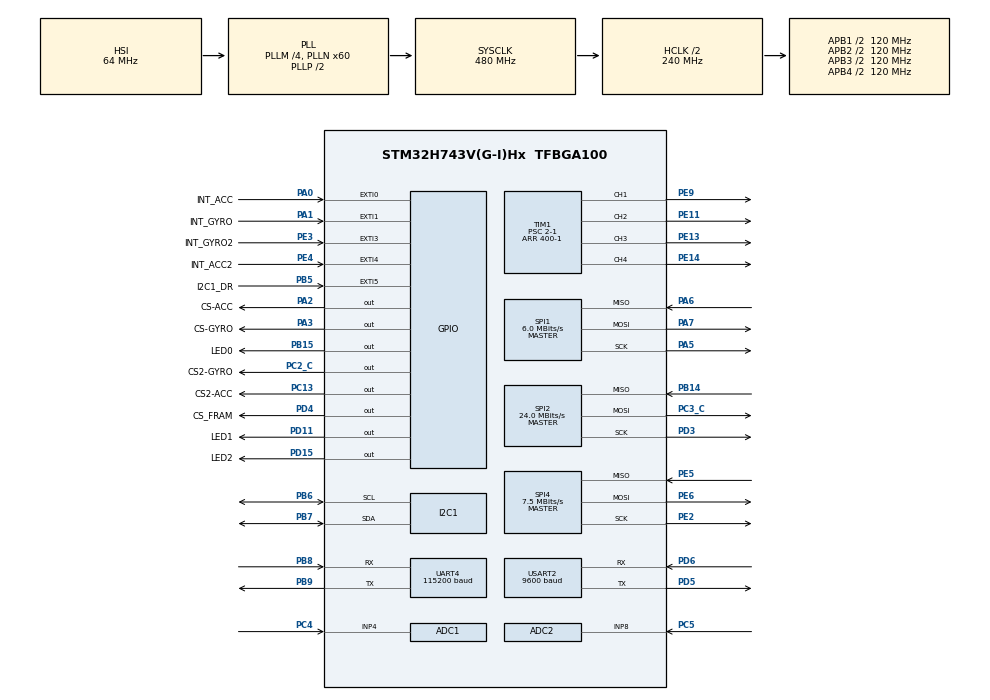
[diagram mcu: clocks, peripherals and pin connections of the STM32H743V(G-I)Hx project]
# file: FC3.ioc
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ADC1.Channel-0\#ChannelRegularConversion=ADC_CHANNEL_4
ADC1.ContinuousConvMode=ENABLE
ADC1.EOCSelection=ADC_EOC_SINGLE_CONV
ADC1.NbrOfConversionFlag=1
ADC1.OffsetNumber-0\#ChannelRegularConversion=ADC_OFFSET_NONE
ADC1.OffsetSignedSaturation-0\#ChannelRegularConversion=DISABLE
ADC1.Rank-0\#ChannelRegularConversion=1
ADC1.Resolution=ADC_RESOLUTION_16B
ADC1.SamplingTime-0\#ChannelRegularConversion=ADC_SAMPLETIME_810CYCLES_5
ADC1.master=1
ADC2.Channel-2\#ChannelRegularConversion=ADC_CHANNEL_8
ADC2.ContinuousConvMode=ENABLE
ADC2.EOCSelection=ADC_EOC_SINGLE_CONV
ADC2.NbrOfConversionFlag=1
ADC2.OffsetNumber-2\#ChannelRegularConversion=ADC_OFFSET_NONE
ADC2.OffsetSignedSaturation-2\#ChannelRegularConversion=DISABLE
ADC2.Rank-2\#ChannelRegularConversion=1
ADC2.Resolution=ADC_RESOLUTION_16B
ADC2.SamplingTime-2\#ChannelRegularConversion=ADC_SAMPLETIME_810CYCLES_5
CORTEX_M7.default_mode_Activation=1
Dma.Request0=TIM1_CH1
Dma.Request1=TIM1_CH2
Dma.Request2=TIM1_CH3
Dma.Request3=TIM1_CH4
Dma.Request4=USART2_RX
Dma.TIM1_CH1.0.Direction=DMA_MEMORY_TO_PERIPH
Dma.TIM1_CH1.0.EventEnable=DISABLE
Dma.TIM1_CH1.0.FIFOMode=DMA_FIFOMODE_DISABLE
Dma.TIM1_CH1.0.Instance=DMA1_Stream0
Dma.TIM1_CH1.0.MemDataAlignment=DMA_MDATAALIGN_HALFWORD
Dma.TIM1_CH1.0.MemInc=DMA_MINC_ENABLE
Dma.TIM1_CH1.0.Mode=DMA_CIRCULAR
Dma.TIM1_CH1.0.PeriphDataAlignment=DMA_PDATAALIGN_HALFWORD
Dma.TIM1_CH1.0.PeriphInc=DMA_PINC_DISABLE
Dma.TIM1_CH1.0.Polarity=HAL_DMAMUX_REQ_GEN_RISING
Dma.TIM1_CH1.0.Priority=DMA_PRIORITY_LOW
Dma.TIM1_CH1.0.RequestNumber=1
Dma.TIM1_CH1.0.SignalID=NONE
Dma.TIM1_CH1.0.SyncEnable=DISABLE
Dma.TIM1_CH1.0.SyncPolarity=HAL_DMAMUX_SYNC_NO_EVENT
Dma.TIM1_CH1.0.SyncRequestNumber=1
Dma.TIM1_CH1.0.SyncSignalID=NONE
Dma.TIM1_CH2.1.Direction=DMA_MEMORY_TO_PERIPH
Dma.TIM1_CH2.1.EventEnable=DISABLE
Dma.TIM1_CH2.1.FIFOMode=DMA_FIFOMODE_DISABLE
Dma.TIM1_CH2.1.Instance=DMA1_Stream1
Dma.TIM1_CH2.1.MemDataAlignment=DMA_MDATAALIGN_HALFWORD
Dma.TIM1_CH2.1.MemInc=DMA_MINC_ENABLE
Dma.TIM1_CH2.1.Mode=DMA_CIRCULAR
Dma.TIM1_CH2.1.PeriphDataAlignment=DMA_PDATAALIGN_HALFWORD
Dma.TIM1_CH2.1.PeriphInc=DMA_PINC_DISABLE
Dma.TIM1_CH2.1.Polarity=HAL_DMAMUX_REQ_GEN_RISING
Dma.TIM1_CH2.1.Priority=DMA_PRIORITY_LOW
Dma.TIM1_CH2.1.RequestNumber=1
Dma.TIM1_CH2.1.SignalID=NONE
Dma.TIM1_CH2.1.SyncEnable=DISABLE
Dma.TIM1_CH2.1.SyncPolarity=HAL_DMAMUX_SYNC_NO_EVENT
Dma.TIM1_CH2.1.SyncRequestNumber=1
Dma.TIM1_CH2.1.SyncSignalID=NONE
Dma.TIM1_CH3.2.Direction=DMA_MEMORY_TO_PERIPH
Dma.TIM1_CH3.2.EventEnable=DISABLE
Dma.TIM1_CH3.2.FIFOMode=DMA_FIFOMODE_DISABLE
Dma.TIM1_CH3.2.Instance=DMA1_Stream2
Dma.TIM1_CH3.2.MemDataAlignment=DMA_MDATAALIGN_HALFWORD
Dma.TIM1_CH3.2.MemInc=DMA_MINC_ENABLE
Dma.TIM1_CH3.2.Mode=DMA_CIRCULAR
Dma.TIM1_CH3.2.PeriphDataAlignment=DMA_PDATAALIGN_HALFWORD
Dma.TIM1_CH3.2.PeriphInc=DMA_PINC_DISABLE
Dma.TIM1_CH3.2.Polarity=HAL_DMAMUX_REQ_GEN_RISING
Dma.TIM1_CH3.2.Priority=DMA_PRIORITY_LOW
Dma.TIM1_CH3.2.RequestNumber=1
Dma.TIM1_CH3.2.SignalID=NONE
Dma.TIM1_CH3.2.SyncEnable=DISABLE
Dma.TIM1_CH3.2.SyncPolarity=HAL_DMAMUX_SYNC_NO_EVENT
Dma.TIM1_CH3.2.SyncRequestNumber=1
Dma.TIM1_CH3.2.SyncSignalID=NONE
Dma.TIM1_CH4.3.Direction=DMA_MEMORY_TO_PERIPH
Dma.TIM1_CH4.3.EventEnable=DISABLE
Dma.TIM1_CH4.3.FIFOMode=DMA_FIFOMODE_DISABLE
Dma.TIM1_CH4.3.Instance=DMA1_Stream3
Dma.TIM1_CH4.3.MemDataAlignment=DMA_MDATAALIGN_HALFWORD
Dma.TIM1_CH4.3.MemInc=DMA_MINC_ENABLE
Dma.TIM1_CH4.3.Mode=DMA_CIRCULAR
Dma.TIM1_CH4.3.PeriphDataAlignment=DMA_PDATAALIGN_HALFWORD
Dma.TIM1_CH4.3.PeriphInc=DMA_PINC_DISABLE
Dma.TIM1_CH4.3.Polarity=HAL_DMAMUX_REQ_GEN_RISING
Dma.TIM1_CH4.3.Priority=DMA_PRIORITY_LOW
Dma.TIM1_CH4.3.RequestNumber=1
Dma.TIM1_CH4.3.SignalID=NONE
Dma.TIM1_CH4.3.SyncEnable=DISABLE
Dma.TIM1_CH4.3.SyncPolarity=HAL_DMAMUX_SYNC_NO_EVENT
Dma.TIM1_CH4.3.SyncRequestNumber=1
Dma.TIM1_CH4.3.SyncSignalID=NONE
Dma.USART2_RX.4.Direction=DMA_PERIPH_TO_MEMORY
Dma.USART2_RX.4.EventEnable=DISABLE
Dma.USART2_RX.4.FIFOMode=DMA_FIFOMODE_DISABLE
Dma.USART2_RX.4.Instance=DMA1_Stream4
Dma.USART2_RX.4.MemDataAlignment=DMA_MDATAALIGN_BYTE
Dma.USART2_RX.4.MemInc=DMA_MINC_ENABLE
Dma.USART2_RX.4.Mode=DMA_CIRCULAR
Dma.USART2_RX.4.PeriphDataAlignment=DMA_PDATAALIGN_BYTE
Dma.USART2_RX.4.PeriphInc=DMA_PINC_DISABLE
Dma.USART2_RX.4.Polarity=HAL_DMAMUX_REQ_GEN_RISING
Dma.USART2_RX.4.Priority=DMA_PRIORITY_LOW
Dma.USART2_RX.4.RequestNumber=1
Dma.USART2_RX.4.SignalID=NONE
Dma.USART2_RX.4.SyncEnable=DISABLE
Dma.USART2_RX.4.SyncPolarity=HAL_DMAMUX_SYNC_NO_EVENT
Dma.USART2_RX.4.SyncRequestNumber=1
Dma.USART2_RX.4.SyncSignalID=NONE
I2C1.OwnAddress=0x76
I2C1.Timing=0x307075B1
Mcu.Family=STM32H7
Mcu.Name=STM32H743V(G-I)Hx
Mcu.Package=TFBGA100
NVIC.ADC_IRQn=true\:0\:0\:false\:false\:true\:true\:true\:true
NVIC.DMA1_Stream0_IRQn=true\:0\:0\:false\:false\:true\:false\:true\:true
NVIC.DMA1_Stream1_IRQn=true\:0\:0\:false\:false\:true\:false\:true\:true
NVIC.DMA1_Stream2_IRQn=true\:0\:0\:false\:false\:true\:false\:true\:true
NVIC.DMA1_Stream3_IRQn=true\:0\:0\:false\:false\:true\:false\:true\:true
NVIC.DMA1_Stream4_IRQn=true\:0\:0\:false\:false\:true\:false\:true\:true
NVIC.EXTI0_IRQn=true\:0\:0\:true\:false\:true\:true\:true\:true
NVIC.EXTI1_IRQn=true\:0\:0\:true\:false\:true\:true\:true\:true
NVIC.EXTI3_IRQn=true\:0\:0\:true\:false\:true\:true\:true\:true
NVIC.EXTI4_IRQn=true\:0\:0\:true\:false\:true\:true\:true\:true
NVIC.EXTI9_5_IRQn=true\:0\:0\:false\:false\:true\:true\:true\:true
NVIC.PriorityGroup=NVIC_PRIORITYGROUP_4
NVIC.TIM4_IRQn=true\:15\:0\:false\:false\:true\:false\:true\:true
NVIC.TIM6_DAC_IRQn=true\:5\:0\:true\:false\:true\:true\:true\:true
NVIC.TimeBase=TIM4_IRQn
NVIC.TimeBaseIP=TIM4
NVIC.UART4_IRQn=true\:0\:0\:true\:false\:true\:true\:true\:true
PA0.GPIO_Label=INT_ACC
PA0.GPIO_ModeDefaultEXTI=GPIO_MODE_IT_FALLING
PA0.Signal=GPXTI0
PA1.GPIO_Label=INT_GYRO
PA1.GPIO_ModeDefaultEXTI=GPIO_MODE_IT_FALLING
PA1.Signal=GPXTI1
PA13\ (JTMS/SWDIO).Mode=Serial_Wire
PA13\ (JTMS/SWDIO).Signal=DEBUG_JTMS-SWDIO
PA14\ (JTCK/SWCLK).Mode=Serial_Wire
PA14\ (JTCK/SWCLK).Signal=DEBUG_JTCK-SWCLK
PA2.GPIO_Label=CS-ACC
PA2.GPIO_PuPd=GPIO_PULLUP
PA2.PinState=GPIO_PIN_SET
PA2.Signal=GPIO_Output
PA3.GPIO_Label=CS-GYRO
PA3.GPIO_PuPd=GPIO_PULLUP
PA3.PinState=GPIO_PIN_SET
PA3.Signal=GPIO_Output
PA5.Mode=Full_Duplex_Master
PA5.Signal=SPI1_SCK
PA6.Mode=Full_Duplex_Master
PA6.Signal=SPI1_MISO
PA7.Mode=Full_Duplex_Master
PA7.Signal=SPI1_MOSI
PB14.Mode=Full_Duplex_Master
PB14.Signal=SPI2_MISO
PB15.GPIO_Label=LED0
PB15.GPIO_PuPd=GPIO_PULLDOWN
PB15.Signal=GPIO_Output
PB5.GPIO_Label=I2C1_DR
PB5.GPIO_ModeDefaultEXTI=GPIO_MODE_IT_RISING
PB5.GPIO_PuPd=GPIO_PULLDOWN
PB5.Signal=GPXTI5
PB6.Mode=I2C
PB6.Signal=I2C1_SCL
PB7.Mode=I2C
PB7.Signal=I2C1_SDA
PB8.Mode=Asynchronous
PB8.Signal=UART4_RX
PB9.Mode=Asynchronous
PB9.Signal=UART4_TX
PC13.GPIO_Label=CS2-ACC
PC13.GPIO_PuPd=GPIO_PULLUP
PC13.PinState=GPIO_PIN_SET
PC13.Signal=GPIO_Output
PC14-OSC32_IN\ (OSC32_IN).Mode=LSE-External-Oscillator
PC14-OSC32_IN\ (OSC32_IN).Signal=RCC_OSC32_IN
PC15-OSC32_OUT\ (OSC32_OUT).Mode=LSE-External-Oscillator
PC15-OSC32_OUT\ (OSC32_OUT).Signal=RCC_OSC32_OUT
PC2_C.GPIO_Label=CS2-GYRO
PC2_C.GPIO_PuPd=GPIO_PULLUP
PC2_C.PinState=GPIO_PIN_SET
PC2_C.Signal=GPIO_Output
PC3_C.Mode=Full_Duplex_Master
PC3_C.Signal=SPI2_MOSI
PC4.Signal=ADCx_INP4
PC5.Signal=ADCx_INP8
PD11.GPIO_Label=LED1
PD11.GPIO_PuPd=GPIO_PULLDOWN
PD11.Signal=GPIO_Output
PD15.GPIO_Label=LED2
PD15.GPIO_PuPd=GPIO_PULLDOWN
PD15.Signal=GPIO_Output
PD3.Mode=Full_Duplex_Master
PD3.Signal=SPI2_SCK
PD4.GPIO_Label=CS_FRAM
PD4.GPIO_PuPd=GPIO_PULLUP
PD4.PinState=GPIO_PIN_SET
PD4.Signal=GPIO_Output
PD5.Mode=Asynchronous
PD5.Signal=USART2_TX
PD6.Mode=Asynchronous
PD6.Signal=USART2_RX
PE11.Signal=S_TIM1_CH2
PE13.Signal=S_TIM1_CH3
PE14.Signal=S_TIM1_CH4
PE2.Mode=Full_Duplex_Master
PE2.Signal=SPI4_SCK
PE3.GPIO_Label=INT_GYRO2
PE3.GPIO_ModeDefaultEXTI=GPIO_MODE_IT_FALLING
PE3.Signal=GPXTI3
PE4.GPIO_Label=INT_ACC2
PE4.GPIO_ModeDefaultEXTI=GPIO_MODE_IT_FALLING
PE4.Signal=GPXTI4
PE5.Mode=Full_Duplex_Master
PE5.Signal=SPI4_MISO
PE6.Mode=Full_Duplex_Master
PE6.Signal=SPI4_MOSI
PE9.Signal=S_TIM1_CH1
ProjectManager.HeapSize=0x200
ProjectManager.StackSize=0x400
ProjectManager.TargetToolchain=STM32CubeIDE
RCC.ADCFreq_Value=80000000
RCC.APB1Freq_Value=120000000
RCC.APB2Freq_Value=120000000
RCC.APB3Freq_Value=120000000
RCC.APB4Freq_Value=120000000
RCC.CortexFreq_Value=480000000
RCC.D1PPRE=RCC_APB3_DIV2
RCC.D2PPRE1=RCC_APB1_DIV2
RCC.D2PPRE2=RCC_APB2_DIV2
RCC.D3PPRE=RCC_APB4_DIV2
RCC.DIVM1=4
RCC.DIVM2=4
RCC.DIVN1=60
RCC.DIVN2=10
RCC.DIVQ1=5
RCC.HCLKFreq_Value=240000000
RCC.HPRE=RCC_HCLK_DIV2
RCC.HSE_VALUE=25000000
RCC.PLL2FRACN=0
RCC.PLL3FRACN=0
RCC.PLLFRACN=0
RCC.SYSCLKFreq_VALUE=480000000
RCC.SYSCLKSource=RCC_SYSCLKSOURCE_PLLCLK
RCC.USBFreq_Value=192000000
SH.ADCx_INP4.0=ADC1_INP4,IN4-Single-Ended
SH.ADCx_INP8.0=ADC2_INP8,IN8-Single-Ended
SH.S_TIM1_CH1.0=TIM1_CH1,PWM Generation1 CH1
SH.S_TIM1_CH2.0=TIM1_CH2,PWM Generation2 CH2
SH.S_TIM1_CH3.0=TIM1_CH3,PWM Generation3 CH3
SH.S_TIM1_CH4.0=TIM1_CH4,PWM Generation4 CH4
SPI1.BaudRatePrescaler=SPI_BAUDRATEPRESCALER_32
SPI1.CalculateBaudRate=6.0 MBits/s
SPI1.DataSize=SPI_DATASIZE_8BIT
SPI1.Direction=SPI_DIRECTION_2LINES
SPI1.Mode=SPI_MODE_MASTER
SPI1.VirtualType=VM_MASTER
SPI2.BaudRatePrescaler=SPI_BAUDRATEPRESCALER_8
SPI2.CLKPhase=SPI_PHASE_1EDGE
SPI2.CLKPolarity=SPI_POLARITY_LOW
SPI2.CalculateBaudRate=24.0 MBits/s
SPI2.DataSize=SPI_DATASIZE_8BIT
SPI2.Direction=SPI_DIRECTION_2LINES
SPI2.FirstBit=SPI_FIRSTBIT_MSB
SPI2.Mode=SPI_MODE_MASTER
SPI2.VirtualType=VM_MASTER
SPI4.BaudRatePrescaler=SPI_BAUDRATEPRESCALER_16
SPI4.CalculateBaudRate=7.5 MBits/s
SPI4.DataSize=SPI_DATASIZE_8BIT
SPI4.Direction=SPI_DIRECTION_2LINES
SPI4.Mode=SPI_MODE_MASTER
SPI4.VirtualType=VM_MASTER
TIM1.AutoReloadPreload=TIM_AUTORELOAD_PRELOAD_ENABLE
TIM1.Channel-PWM\ Generation1\ CH1=TIM_CHANNEL_1
TIM1.Channel-PWM\ Generation2\ CH2=TIM_CHANNEL_2
TIM1.Channel-PWM\ Generation3\ CH3=TIM_CHANNEL_3
TIM1.Channel-PWM\ Generation4\ CH4=TIM_CHANNEL_4
TIM1.OCPolarity_1=TIM_OCPOLARITY_HIGH
TIM1.OCPolarity_2=TIM_OCPOLARITY_HIGH
TIM1.OCPolarity_3=TIM_OCPOLARITY_HIGH
TIM1.OCPolarity_4=TIM_OCPOLARITY_HIGH
TIM1.Period=400-1
TIM1.Prescaler=2-1
TIM6.AutoReloadPreload=TIM_AUTORELOAD_PRELOAD_ENABLE
TIM6.Period=1000-1
TIM6.Prescaler=240-1
TIM7.AutoReloadPreload=TIM_AUTORELOAD_PRELOAD_ENABLE
TIM7.Prescaler=240-1
UART4.BaudRate=115200
USART2.BaudRate=9600
USART2.VirtualMode-Asynchronous=VM_ASYNC
VP_MEMORYMAP_VS_MEMORYMAP.Mode=CurAppReg
VP_SYS_VS_tim4.Mode=TIM4
VP_TIM6_VS_ClockSourceINT.Mode=Enable_Timer
VP_TIM7_VS_ClockSourceINT.Mode=Enable_Timer
board=custom

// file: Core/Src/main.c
/* USER CODE BEGIN Header */
/**
  ******************************************************************************
  * @file           : main.c
  * @brief          : Main program body
  ******************************************************************************
  * @attention
  *
  * Copyright (c) 2025 STMicroelectronics.
  * All rights reserved.
  *
  * This software is licensed under terms that can be found in the LICENSE file
  * in the root directory of this software component.
  * If no LICENSE file comes with this software, it is provided AS-IS.
  *
  ******************************************************************************
  */
/* USER CODE END Header */
#include "main.h"
#include "adc.h"
#include "dma.h"
#include "i2c.h"
#include "memorymap.h"
#include "spi.h"
#include "tim.h"
#include "usart.h"
#include "gpio.h"

/* USER CODE BEGIN Includes */
#include "light_flow.h"
#include "flow_lowpass.h"
//#include "BMI088.h"  //其他文件已经包含了
#include <stdbool.h> // 包含 bool 类型定义
#include "baro.h"
#include "flash.h"
#include <string.h>
#include <stdio.h> // 包含标准输入输出函数原型
#include "position_estimator.h"
#include "process.h"
#include "imu_selector.h"
#include"400hz_offset.h"

#include "sysdelay.h"
#include "dwtdelay.h"
/* USER CODE END Includes */

void SystemClock_Config(void);
void PeriphCommonClock_Config(void);
static void MPU_Config(void);
/* USER CODE BEGIN PFP */

#ifdef __GNUC__
#define PUTCHAR_PROTOTYPE int __io_putchar(int ch)
#else
#define PUTCHAR_PROTOTYPE int fputc(int ch, FILE *f)
#endif

PUTCHAR_PROTOTYPE
{
    HAL_UART_Transmit(&huart4, (uint8_t *)&ch, 1, 0xFFFF); //  huart4串口重定向，将c语言的printf函数重定向到串口4（要包含stdio.h）
    return ch;
}

/* USER CODE END PFP */

/* USER CODE BEGIN 0 */
extern DMA_HandleTypeDef hdma_tim1_ch1;
extern DMA_HandleTypeDef hdma_tim1_ch2;
extern DMA_HandleTypeDef hdma_tim1_ch3;
extern DMA_HandleTypeDef hdma_tim1_ch4;

extern MICOLINK_PAYLOAD_RANGE_SENSOR_t payload;

extern DMA_HandleTypeDef hdma_adc1;  // ADC1的DMA句柄
extern DMA_HandleTypeDef hdma_adc2;  // ADC2的DMA句柄

uint8_t rx_buffer[1];
bool BMIx = false;//false对应spi1的bmi088，true对应spi4的bmi088_2

//BMIx为0时对应spi1的bmi088，为1时对应spi4的bmi088_2

// 全局变量：油门
 volatile uint16_t throttle_value = 200;
 uint16_t throttle_motor[4] = {0,0,0,0};
 uint8_t slow_down = 0;
 uint8_t start_fly = 0;
 uint8_t q = 0;
 int maxmotor = 0;
// int maxmotor = 1420;
 int xxx = 1;
void HAL_UART_RxCpltCallback(UART_HandleTypeDef *huart)//串口中断调试
{
  if (huart == &huart4) {
	  printf("%d \r\n",rx_buffer[0]);
    switch (rx_buffer[0])
    {
    case 49://1
    	/*----------------BMI088陀螺仪/加速度计数据读取----------------*/
        //读取IMU数据
        IMU_Read(BMIx);
        printf("gyro_x: %2f \r\n",BMI088.gyro.dps[xx]);
        printf("gyro_y: %2f \r\n",BMI088.gyro.dps[yy]);
        printf("gyro_z: %2f \r\n",BMI088.gyro.dps[zz]);
//    HAL_UART_Transmit(&huart4, (uint8_t*)&BMI088.gyro.dps[xx], sizeof(BMI088.gyro.dps[xx]), 100);
//    HAL_UART_Transmit(&huart4, (uint8_t*)&BMI088.gyro.dps[yy], sizeof(BMI088.gyro.dps[yy]), 100);
//    HAL_UART_Transmit(&huart4, (uint8_t*)&BMI088.gyro.dps[zz], sizeof(BMI088.gyro.dps[zz]), 100);

      break;

    case 50://2
        //读取IMU数据
        IMU_Read(BMIx);
        printf("acc_x: %2f \r\n",BMI088.acc.m_s_2[xx]);
        printf("acc_y: %2f \r\n",BMI088.acc.m_s_2[yy]);
        printf("acc_z: %2f \r\n",BMI088.acc.m_s_2[zz]);
//    HAL_UART_Transmit(&huart4, (uint8_t*)&BMI088.acc.m_s_2[xx], sizeof(BMI088.acc.m_s_2[xx]), 100);
//    HAL_UART_Transmit(&huart4, (uint8_t*)&BMI088.acc.m_s_2[yy], sizeof(BMI088.acc.m_s_2[yy]), 100);
//    HAL_UART_Transmit(&huart4, (uint8_t*)&BMI088.acc.m_s_2[zz], sizeof(BMI088.acc.m_s_2[zz]), 100);

      break;

    case 51://3
        //读取IMU数据
        IMU_Read(!BMIx);
    HAL_UART_Transmit(&huart4, (uint8_t*)&BMI088_2.gyro.dps[xx], sizeof(BMI088_2.gyro.dps[xx]), 100);
    HAL_UART_Transmit(&huart4, (uint8_t*)&BMI088_2.gyro.dps[yy], sizeof(BMI088_2.gyro.dps[yy]), 100);
    HAL_UART_Transmit(&huart4, (uint8_t*)&BMI088_2.gyro.dps[zz], sizeof(BMI088_2.gyro.dps[zz]), 100);
//    printf("距离 =  %d cm \r\n",payload.distance/10);
//    printf("light_flow_x：%d ,speed_x= %d \r\n",payload.flow_vel_x, (int64_t)payload.flow_vel_x * payload.distance/1000);
//    printf("light_flow_y：%d ,speed_y= %d \r\n",payload.flow_vel_y, (int64_t)payload.flow_vel_y * payload.distance/1000);

      break;

    case 52://4
        //读取IMU数据
        IMU_Read(!BMIx);
    HAL_UART_Transmit(&huart4, (uint8_t*)&BMI088_2.acc.m_s_2[xx], sizeof(BMI088_2.acc.m_s_2[xx]), 100);
    HAL_UART_Transmit(&huart4, (uint8_t*)&BMI088_2.acc.m_s_2[yy], sizeof(BMI088_2.acc.m_s_2[yy]), 100);
    HAL_UART_Transmit(&huart4, (uint8_t*)&BMI088_2.acc.m_s_2[zz], sizeof(BMI088_2.acc.m_s_2[zz]), 100);

      break;

      /*----------------气压计数据读取----------------*/
    case 53://5
    	maxmotor = 300;
    	printf("\r\n\r\n\r\nthrottle_value: %d \r\n\r\n\r\n",maxmotor);
        //读取BARO数据
//    	printf("气压：%2f \r\n",BARO_Data_Now.press_correction);
//    	printf("温度：%2f \r\n",BARO_Data_Now.temp_correction);
//    	printf("海拔：%2f \r\n",BARO_Data_Now.Actual_altitude);
//    HAL_UART_Transmit(&huart4, (uint8_t*)&BARO_Data_Now.press_correction, sizeof(BARO_Data_Now.Actual_pressure), 100);
//    HAL_UART_Transmit(&huart4, (uint8_t*)&BARO_Data_Now.temp_correction, sizeof(BARO_Data_Now.Actual_temperature), 100);
//    HAL_UART_Transmit(&huart4, (uint8_t*)&BARO_Data_Now.Actual_altitude, sizeof(BARO_Data_Now.Actual_altitude), 100);

      break;

      /*----------------油门调整----------------*/
      case 54://6
          // 实现油门急停
    	  start_fly = 0;
    	  slow_down = 0;
          throttle_value = 0;  // 将油门值设置为0
          for (uint8_t m = 0; m < 4; ++m) {
              DSHOT_Update(m, throttle_value);  // 更新所有四个电机的油门值
          }
          printf("\r\n Stop! \r\n\r\n");
          break;

      case 55://7
    	  if(xxx==0)
    	  {
    		  throttle_value = 1100;
				for (uint8_t m = 0; m < 4; ++m) {
					DSHOT_Update(m, throttle_value);  // 更新所有四个电机的油门值
				}
        	  xxx = 2;
        	  xxx = 2;
        	  xxx = 2;
    	  }

    	  if(xxx==1)
    	  {
    		  throttle_value = 750;
				for (uint8_t m = 0; m < 4; ++m) {
					DSHOT_Update(m, throttle_value);  // 更新所有四个电机的油门值
				}
        	  xxx = 0;
        	  xxx = 0;
        	  xxx = 0;
    	  }

          // 实现缓加油门，每次增加50，但不超过1000
//
//        	  if (throttle_value < 1200)
//        	  {  // 确保油门值不超过1000
//               throttle_value += 100;
//        	  }  // 增加油门值100
//
//              if (throttle_value == 1000)
//              {
//               throttle_value = 1200;  // 如果超过1000，则设置为1000
//              }

//              for (uint8_t m = 0; m < 4; ++m) {
//                  DSHOT_Update(m, throttle_value);  // 更新所有四个电机的油门值
//              }
//              DSHOT_Update(0, throttle_value);
//              DSHOT_Update(q, throttle_value);
//              q++;
//              if(q==4)q=0;

          printf("throttle_value: %d \r\n\r\n",throttle_value);
//    	  if(xxx==0)
//    	  {
//        	  maxmotor += 20;
//        	  printf("\r\n\r\n\r\nthrottle_value: %d \r\n\r\n\r\n",maxmotor);
//    	  }

          break;

      case 56://8
//    	  if (throttle_value > 100)
//    	  {
//    		  throttle_value -= 50;
//              if (throttle_value < 100) {
//                  throttle_value = 50;  // 如果超过1000，则设置为1000
//              }
//              for (uint8_t m = 0; m < 4; ++m) {
//              DSHOT_Update(m, throttle_value);  // 更新所有四个电机的油门值
//              }
//          }
//    	  printf("throttle_value: %d \r\n\r\n",throttle_value);
    	  maxmotor -= 50;
    	  printf("\r\n\r\n\r\nthrottle_value: %d \r\n\r\n\r\n",maxmotor);
          break;

      case 57://9,缓降
    	  start_fly = 0;

    	  slow_down = 1;
    	  break;

      case 48://0，一键起飞
    	  start_fly = 1;
    	  break;

    default:
      break;

    }

}
  //重启串口4接收中断
  HAL_UART_Receive_IT(&huart4, rx_buffer, 1);

}

// TIM1\CH1\DMA传输完成中断
uint8_t r = 0;
void HAL_TIM_PWM_PulseFinishedCallback(TIM_HandleTypeDef *htim)
{
//    if (htim->Instance == TIM1 && htim->Channel == HAL_TIM_ACTIVE_CHANNEL_1)
//    {
//    	//TIM1\CH1\DMA传输完成中断
//    	r++;
//    	if(r=2)
//    	{
//            for (uint8_t m = 0; m < 4; ++m) {
//                DSHOT_Update(m, 0, 1);  // 更新所有四个电机的油门值
//            }
//            r = 0;
//    	}
//
//    }
}

// ADC采样完成中断
  uint16_t bat=0;
  double curr=0;
  float BAT_V = 0.0;
  double Dc_Motor_Current = 0.0;

  void HAL_ADC_ConvCpltCallback(ADC_HandleTypeDef *hadc)
  {
      if (hadc == &hadc1)
      {
    	  bat = HAL_ADC_GetValue(&hadc1);
          BAT_V = bat * 3.3f / 65535.0f;      //电池电压
      }
      else if (hadc == &hadc2)
      {
    	  curr = HAL_ADC_GetValue(&hadc2);
          Dc_Motor_Current = (curr * 3.3f / 65535.0f) / 0.01275f; //电机电流,12.75mV/A
      }

  }

  uint8_t rx_buffer2[64]; // usart2接收光流数据缓冲区
  extern DMA_HandleTypeDef hdma_usart2_rx;
  void HAL_UARTEx_RxEventCallback(UART_HandleTypeDef *huart,uint16_t Size) {
      if (huart == &huart2) {

    	  micolink_decode(rx_buffer2[0]);//micolink光流数据处理
    	  micolink_decode(rx_buffer2[1]);
    	  micolink_decode(rx_buffer2[2]);
    	  micolink_decode(rx_buffer2[3]);
    	  micolink_decode(rx_buffer2[4]);
    	  micolink_decode(rx_buffer2[5]);
    	  micolink_decode(rx_buffer2[6]);
    	  micolink_decode(rx_buffer2[7]);
    	  micolink_decode(rx_buffer2[8]);
    	  micolink_decode(rx_buffer2[9]);
    	  micolink_decode(rx_buffer2[10]);
    	  micolink_decode(rx_buffer2[11]);
    	  micolink_decode(rx_buffer2[12]);
    	  micolink_decode(rx_buffer2[13]);
    	  micolink_decode(rx_buffer2[14]);
    	  micolink_decode(rx_buffer2[15]);
    	  micolink_decode(rx_buffer2[16]);
    	  micolink_decode(rx_buffer2[17]);
    	  micolink_decode(rx_buffer2[18]);
    	  micolink_decode(rx_buffer2[19]);
    	  micolink_decode(rx_buffer2[20]);
  		  micolink_decode(rx_buffer2[21]);
  		  micolink_decode(rx_buffer2[22]);
  		  micolink_decode(rx_buffer2[23]);
  		  micolink_decode(rx_buffer2[24]);
  		  micolink_decode(rx_buffer2[25]);
  		  micolink_decode(rx_buffer2[26]);

      }
  }

  uint16_t t=0;
  uint16_t tt=0;
  uint8_t bat_cur=0;
  uint8_t circle=0;
  uint8_t select_imu=0;
  uint8_t time_1s=0;
  bool use_imu = false;//选择使用哪个imu

/* USER CODE END 0 */

int main(void)
{

  /* MPU Configuration--------------------------------------------------------*/
  MPU_Config();

  /* MCU Configuration--------------------------------------------------------*/

  /* Reset of all peripherals, Initializes the Flash interface and the Systick. */
  HAL_Init();

  /* Configure the system clock */
  SystemClock_Config();

  /* Configure the peripherals common clocks */
  PeriphCommonClock_Config();

  /* Initialize all configured peripherals */
  MX_GPIO_Init();
  MX_DMA_Init();
  MX_TIM6_Init();
  MX_SPI1_Init();
  MX_UART4_Init();
  MX_SPI4_Init();
  MX_I2C1_Init();
  MX_SPI2_Init();
  MX_TIM1_Init();
  MX_ADC1_Init();
  MX_ADC2_Init();
  MX_USART2_UART_Init();
  MX_TIM7_Init();
  /* USER CODE BEGIN 2 */

  // SysTick_Init_100us();

  /*--------easylogger--------*/
  elog_init();// 初始化 EasyLogger
  /* 设置各级别日志输出格式 */
  elog_set_fmt(ELOG_LVL_ASSERT, ELOG_FMT_ALL);
  elog_set_fmt(ELOG_LVL_ERROR, ELOG_FMT_LVL | ELOG_FMT_TAG | ELOG_FMT_TIME);
  elog_set_fmt(ELOG_LVL_WARN, ELOG_FMT_LVL | ELOG_FMT_TAG | ELOG_FMT_TIME);
  elog_set_fmt(ELOG_LVL_INFO, ELOG_FMT_LVL | ELOG_FMT_TAG | ELOG_FMT_TIME);
  elog_set_fmt(ELOG_LVL_DEBUG, ELOG_FMT_ALL & ~(ELOG_FMT_FUNC | ELOG_FMT_T_INFO | ELOG_FMT_P_INFO));
  elog_set_fmt(ELOG_LVL_VERBOSE, ELOG_FMT_ALL & ~(ELOG_FMT_FUNC | ELOG_FMT_T_INFO | ELOG_FMT_P_INFO));
  /* 启动日志输出 */
  elog_start();
  /* 放在所有 MX_xx_Init() 之后 */

  /*--------光流传感器--------*/
  // 启用串口2接收DMA+idle（非阻塞模式）
//  HAL_UARTEx_ReceiveToIdle_DMA(&huart2, rx_buffer2, sizeof(rx_buffer2));
//  //关闭dma过半中断
//  __HAL_DMA_DISABLE_IT(&hdma_usart2_rx, DMA_IT_HT);

  /*--------气压计--------*/
//   INIT_BARO();

  //开定时器6中断
  HAL_TIM_Base_Start_IT(&htim6);

  //开启串口4接收中断
  HAL_UART_Receive_IT(&huart4, rx_buffer, 1);

  /*-----------初始化并使能BMI088-----------*/
  BMI088_ACC_GYRO_Init(&hspi1);//使能加速度
  BMI088_ACC_GYRO_Init(&hspi4);//使能陀螺仪

//  /*--------FLASH--------*/
//    Init_FM25Vx();    //初始化flash：FM25V20A
//
//    FM25Vx_text();    //测试函数

  /*-----------DMA+PWM输出DShot300信号-----------*/
  /* 先关 HT 中断，只留 TC */
//   __HAL_DMA_DISABLE_IT(&hdma_tim1_ch1, DMA_IT_HT);
//   __HAL_DMA_DISABLE_IT(&hdma_tim1_ch2, DMA_IT_HT);
//   __HAL_DMA_DISABLE_IT(&hdma_tim1_ch3, DMA_IT_HT);
//   __HAL_DMA_DISABLE_IT(&hdma_tim1_ch4, DMA_IT_HT);
//  DSHOT_Start();    // 启动 4 路循环发送
//  DSHOT_Update(0, 0);  // 电机 0
//  DSHOT_Update(1, 0);  // 电机 1
//  DSHOT_Update(2, 0);  // 电机 2
//  DSHOT_Update(3, 0);  // 电机 3

  /*-----------ADC采样BAT电压与电调电流-----------*/
  //ADC校准参考电压
//  HAL_ADCEx_Calibration_Start(&hadc1, ADC_CALIB_OFFSET, ADC_SINGLE_ENDED);
//  HAL_ADCEx_Calibration_Start(&hadc2, ADC_CALIB_OFFSET, ADC_SINGLE_ENDED);

//  // 启动 ADC 并使能中断
//  HAL_ADC_Start_IT(&hadc1);  // 关键：用 _IT 函数启动，自动使能中断
//  HAL_ADC_Start_IT(&hadc2);

//  float a_x,a_y,b_x,b_y;
// extern float m_x;
// extern float m_y;
//  float c_x = 0;
//  float c_y = 0;
//  float d_x, d_y;

  extern motor_out_t motor_out; // 电机输出值，由 torque_to_motor 函数计算得到

  uint8_t fly_cnt = 1;
  uint16_t cnt = 0;

  HAL_TIM_Base_Start(&htim7);   // 放在 main 里或任务初始化里一次即可，用于计算函数执行时间
  DWT_Init();//dwt初始化，用于测量函数时间和中断时间

  int del=0;
  bool del_flag=false;
  /* USER CODE END 2 */

  /* Infinite loop */
  /* USER CODE BEGIN WHILE */
  while (1)
  {
//    printf("%d\r\n",Get_dwt_us());
	  // printf("tick = %lu\r\n", HAL_GetTick());//获取ms时间
	  // IMU_handle(use_imu);//循环查询方式处理数据

//	  printf("_2\r\n");

//	  if(time_1s==1)//1s闪烁，指示主循环是否正常运行
//	    {
//		  time_1s = 0;
//		  HAL_GPIO_TogglePin(LED0_GPIO_Port, LED0_Pin);  // 翻转小灯电平
//	    }
//
//
 if(select_imu==1)// 每1s打分一次，选择使用哪个imu
 {
	  select_imu=0;
//		  imu_selector_get_active(&use_imu);
//		  use_imu = use_imu ? false : true;  //false代表使用第一个imu，ture代表使用第二个imu
	  use_imu = false;

	if(del<3)//添加适当的延时，3s后再开始计算零偏
	{
		del++;
		if(del==2)
		{
			del_flag=true;
		}
	}
//      if(use_imu){
//    	  printf("_2\r\n");}
//      else{
//    	  printf("_1\r\n");}
	  }
//
//
////	  uint32_t start = __HAL_TIM_GET_COUNTER(&htim7); 测量时间代码段
//
////    需要测的代码
//
////	  uint32_t end = __HAL_TIM_GET_COUNTER(&htim7);
////
////	  uint32_t us = (end >= start) ? (end - start) : (0xFFFF - start + end);
////	  printf("耗时: %lu us\r\n", us);
//
	  if(circle == 1 && del_flag==true)
	  {
		circle = 0;
//	  	IMU_Read(use_imu);//读取第一个imu
     imu_400hz_task();
     process_main();
      //  printf("%d\r\n",Get_dwt_us());

	  }

//		 throttle_motor[0] = (motor_out.m[1]/10) *maxmotor;
//		 throttle_motor[1] = (motor_out.m[2]/10) *maxmotor;
//		 throttle_motor[2] = (motor_out.m[0]/10) *maxmotor;
//		 throttle_motor[3] = (motor_out.m[3]/10) *maxmotor;

////	  // 1. 读温度（把 raw 字节转成 ℃）
////	      BMI088_Read_Tmp_Data(false);   // 读取 BMI088 的温度
//	      float current_temp = BMI088.Temperature;
////
////	      // 2. 现在可以用 current_temp 做温度补偿或打印
//	      printf("IMU temp ℃\r\n\r\n");
//////	      HAL_Delay(1000);
//
//		 if(bat_cur == 1 ){
//			 bat_cur =0;
//			 printf("BAT_V=%.2f V\r\n",BAT_V*10);
//			 printf("CURR =%.2f A\r\n\r\n",Dc_Motor_Current);
//		 }

	  while (start_fly == 1)
	  {
			 IMU_Read(BMIx);
			 process_main();
			 HAL_Delay(0);

			 if(motor_out.m[0]!=0 )//校准完成
			 {
				 if(fly_cnt == 3)
				 {
					 maxmotor=1400;
					 fly_cnt = 0;

				 }
				 if(fly_cnt == 2)
				 {
					 maxmotor=1100;
					 cnt++;
					 if(cnt == 4000)
					 {
						 fly_cnt = 3;
						 cnt = 0;
					 }
				 }
				 if(fly_cnt == 1)
				 {
					 maxmotor=700;
					 cnt++;
					 if(cnt == 4000)
					 {
						 fly_cnt = 2;
						 cnt = 0;
					 }

				 }

//				 throttle_motor[0] = (motor_out.m[0]/10) *maxmotor;
//				 throttle_motor[1] = (motor_out.m[1]/10) *maxmotor;
//				 throttle_motor[2] = (motor_out.m[3]/10) *maxmotor;
//				 throttle_motor[3] = (motor_out.m[2]/10) *maxmotor;

				 throttle_motor[0] = (motor_out.m[2]/10) *maxmotor*1.096;
//				 throttle_motor[0] = (motor_out.m[2]/10) *maxmotor;
				 throttle_motor[1] = (motor_out.m[3]/10) *maxmotor;
				 throttle_motor[2] = (motor_out.m[0]/10) *maxmotor;
				 throttle_motor[3] = (motor_out.m[1]/10) *maxmotor;
				 for (uint8_t m = 0; m < 4; ++m)
				 {
					 DSHOT_Update(m, throttle_motor[m]);
				 }
			 }
	   }

		 if(slow_down==1)
		 {
			 slow_down=0;
			 start_fly == 0;
			 throttle_value = 800 ;
			  for (uint8_t m = 0; m < 4; ++m)
			  {
				  DSHOT_Update(m, throttle_value);  // 更新所有四个电机的油门值
			  }
			  HAL_Delay(800);
			 throttle_value = 600 ;
			  for (uint8_t m = 0; m < 4; ++m)
			  {
				  DSHOT_Update(m, throttle_value);  // 更新所有四个电机的油门值
			  }
			  HAL_Delay(500);
			 throttle_value = 400 ;
			  for (uint8_t m = 0; m < 4; ++m)
			  {
				  DSHOT_Update(m, throttle_value);  // 更新所有四个电机的油门值
			  }
			  HAL_Delay(300);
			 throttle_value = 200 ;
			  for (uint8_t m = 0; m < 4; ++m)
			  {
				  DSHOT_Update(m, throttle_value);  // 更新所有四个电机的油门值
			  }
			  HAL_Delay(300);
			 throttle_value = 0 ;
			  for (uint8_t m = 0; m < 4; ++m)
			  {
				  DSHOT_Update(m, throttle_value);  // 更新所有四个电机的油门值
			  }
              //停止
		 }
		 slow_down=0;

//	  //处理光流数据
//	  a_x= -payload.flow_vel_x;
//	  d_x=payload.distance*0.001;//距离m
//	  b_x=a_x*d_x;//cm/s
//	  b_x=flow_lpf(b_x, 0.5f);
//	  m_x=b_x*0.01;//m/s
//	  c_x+=m_x*0.05*2.0f;//m
////
//	  a_y=payload.flow_vel_y;
//	  d_y=payload.distance*0.001;//距离m
//	  b_y=a_y*d_y;//cm/s
//	  b_y=flow_lpf(b_y, 0.2f);
//	  m_y=b_y*0.01;//m/s
//	  c_y+=m_y*0.05*2.0f;//m
//      IMU_Read(BMIx);
//      printf("加速度_x：%2f \r\n",BMI088.acc.m_s_2[xx]);
//      printf("加速度_y：%2f \r\n",BMI088.acc.m_s_2[yy]);
//      printf("加速度_z：%2f \r\n",-BMI088.acc.m_s_2[zz]);
//

//   printf("BAT_V=%.2f\r\n\r\n",BAT_V);
////   printf("电机电流=%.2f\r\n",Dc_Motor_Current);
//

//   HAL_Delay(50);

    /* USER CODE END WHILE */

	  }
}

void SystemClock_Config(void)
{
  RCC_OscInitTypeDef RCC_OscInitStruct = {0};
  RCC_ClkInitTypeDef RCC_ClkInitStruct = {0};

  /** Supply configuration update enable
  */
  HAL_PWREx_ConfigSupply(PWR_LDO_SUPPLY);

  /** Configure the main internal regulator output voltage
  */
  __HAL_PWR_VOLTAGESCALING_CONFIG(PWR_REGULATOR_VOLTAGE_SCALE0);

  while(!__HAL_PWR_GET_FLAG(PWR_FLAG_VOSRDY)) {}

  /** Initializes the RCC Oscillators according to the specified parameters
  * in the RCC_OscInitTypeDef structure.
  */
  RCC_OscInitStruct.OscillatorType = RCC_OSCILLATORTYPE_HSI;
  RCC_OscInitStruct.HSIState = RCC_HSI_DIV1;
  RCC_OscInitStruct.HSICalibrationValue = RCC_HSICALIBRATION_DEFAULT;
  RCC_OscInitStruct.PLL.PLLState = RCC_PLL_ON;
  RCC_OscInitStruct.PLL.PLLSource = RCC_PLLSOURCE_HSI;
  RCC_OscInitStruct.PLL.PLLM = 4;
  RCC_OscInitStruct.PLL.PLLN = 60;
  RCC_OscInitStruct.PLL.PLLP = 2;
  RCC_OscInitStruct.PLL.PLLQ = 5;
  RCC_OscInitStruct.PLL.PLLR = 2;
  RCC_OscInitStruct.PLL.PLLRGE = RCC_PLL1VCIRANGE_3;
  RCC_OscInitStruct.PLL.PLLVCOSEL = RCC_PLL1VCOWIDE;
  RCC_OscInitStruct.PLL.PLLFRACN = 0;
  if (HAL_RCC_OscConfig(&RCC_OscInitStruct) != HAL_OK)
  {
    Error_Handler();
  }

  /** Initializes the CPU, AHB and APB buses clocks
  */
  RCC_ClkInitStruct.ClockType = RCC_CLOCKTYPE_HCLK|RCC_CLOCKTYPE_SYSCLK
                              |RCC_CLOCKTYPE_PCLK1|RCC_CLOCKTYPE_PCLK2
                              |RCC_CLOCKTYPE_D3PCLK1|RCC_CLOCKTYPE_D1PCLK1;
  RCC_ClkInitStruct.SYSCLKSource = RCC_SYSCLKSOURCE_PLLCLK;
  RCC_ClkInitStruct.SYSCLKDivider = RCC_SYSCLK_DIV1;
  RCC_ClkInitStruct.AHBCLKDivider = RCC_HCLK_DIV2;
  RCC_ClkInitStruct.APB3CLKDivider = RCC_APB3_DIV2;
  RCC_ClkInitStruct.APB1CLKDivider = RCC_APB1_DIV2;
  RCC_ClkInitStruct.APB2CLKDivider = RCC_APB2_DIV2;
  RCC_ClkInitStruct.APB4CLKDivider = RCC_APB4_DIV2;

  if (HAL_RCC_ClockConfig(&RCC_ClkInitStruct, FLASH_LATENCY_4) != HAL_OK)
  {
    Error_Handler();
  }
}

void PeriphCommonClock_Config(void)
{
  RCC_PeriphCLKInitTypeDef PeriphClkInitStruct = {0};

  /** Initializes the peripherals clock
  */
  PeriphClkInitStruct.PeriphClockSelection = RCC_PERIPHCLK_ADC;
  PeriphClkInitStruct.PLL2.PLL2M = 4;
  PeriphClkInitStruct.PLL2.PLL2N = 10;
  PeriphClkInitStruct.PLL2.PLL2P = 2;
  PeriphClkInitStruct.PLL2.PLL2Q = 2;
  PeriphClkInitStruct.PLL2.PLL2R = 2;
  PeriphClkInitStruct.PLL2.PLL2RGE = RCC_PLL2VCIRANGE_3;
  PeriphClkInitStruct.PLL2.PLL2VCOSEL = RCC_PLL2VCOMEDIUM;
  PeriphClkInitStruct.PLL2.PLL2FRACN = 0;
  PeriphClkInitStruct.AdcClockSelection = RCC_ADCCLKSOURCE_PLL2;
  if (HAL_RCCEx_PeriphCLKConfig(&PeriphClkInitStruct) != HAL_OK)
  {
    Error_Handler();
  }
}

/* USER CODE BEGIN 4 */

//处理函数，重启dma+idle
void handler01(void) {

HAL_UARTEx_ReceiveToIdle_DMA(&huart2, rx_buffer2, sizeof(rx_buffer2));

}

void HAL_TIM_PeriodElapsedCallback(TIM_HandleTypeDef *htim)
{

  if (htim->Instance == TIM6)
    {
      //定时器0.1ms中断服务
//	  void check_time_stability_simple(handler01);

	  t++;
	  tt++;
	  if(t==10000)
	  {
		  t=0;
		  time_1s = 1;
		  select_imu = 1;

	  }
	  if(tt==25)
	  {
		  tt=0;
		  circle = 1;
	  }

//		  bat_cur = 1;
//		  uint8_t r[1];
//		  r[0]=1;
//		  HAL_UART_Transmit(&huart2, (uint8_t*)&r, sizeof(r), 100);
//		 printf("BAT_V=%.2f V\r\n",BAT_V*10);
//		 printf("CURR =%.2f A\r\n\r\n",Dc_Motor_Current);
//	        IMU_Read(BMIx);
//	        printf(" %2f %2f %2f \r\n",BMI088.acc.m_s_2[xx],BMI088.acc.m_s_2[yy],BMI088.acc.m_s_2[zz]);
	  }
//		 IMU_Read(BMIx);
//		 process_main();
}

/* USER CODE END 4 */

 /* MPU Configuration */

void MPU_Config(void)
{
  MPU_Region_InitTypeDef MPU_InitStruct = {0};

  /* Disables the MPU */
  HAL_MPU_Disable();

  /** Initializes and configures the Region and the memory to be protected
  */
  MPU_InitStruct.Enable = MPU_REGION_ENABLE;
  MPU_InitStruct.Number = MPU_REGION_NUMBER0;
  MPU_InitStruct.BaseAddress = 0x0;
  MPU_InitStruct.Size = MPU_REGION_SIZE_4GB;
  MPU_InitStruct.SubRegionDisable = 0x87;
  MPU_InitStruct.TypeExtField = MPU_TEX_LEVEL0;
  MPU_InitStruct.AccessPermission = MPU_REGION_NO_ACCESS;
  MPU_InitStruct.DisableExec = MPU_INSTRUCTION_ACCESS_DISABLE;
  MPU_InitStruct.IsShareable = MPU_ACCESS_SHAREABLE;
  MPU_InitStruct.IsCacheable = MPU_ACCESS_NOT_CACHEABLE;
  MPU_InitStruct.IsBufferable = MPU_ACCESS_NOT_BUFFERABLE;

  HAL_MPU_ConfigRegion(&MPU_InitStruct);
  /* Enables the MPU */
  HAL_MPU_Enable(MPU_PRIVILEGED_DEFAULT);

}

void Error_Handler(void)
{
  __disable_irq();
  while (1)
  {
  }
}
